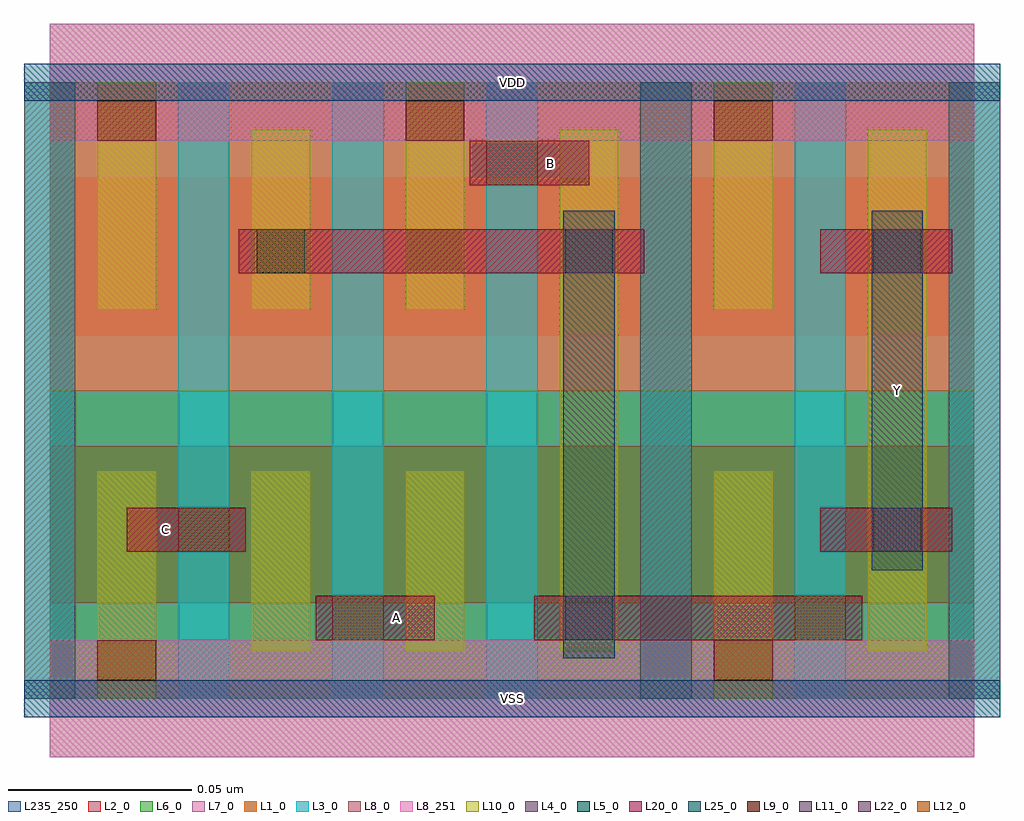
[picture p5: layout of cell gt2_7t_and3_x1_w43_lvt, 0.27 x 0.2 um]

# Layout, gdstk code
import gdstk
lib = gdstk.Library(unit=1e-6, precision=5e-10)
def R(c, l, rs):  # rectangles x0, y0, x1, y1
    for r in rs: c.add(gdstk.rectangle(r[:2], r[2:], *l))
def A(c, l, x, y, w, h, nx, ny, dx, dy):  # array of equal rectangles
    R(c, l, [(x+i*dx, y+j*dy, x+i*dx+w, y+j*dy+h) for i in range(nx) for j in range(ny)])
L1_0 = (1, 0)
L2_0 = (2, 0)
L3_0 = (3, 0)
L4_0 = (4, 0)
L5_0 = (5, 0)
L6_0 = (6, 0)
L7_0 = (7, 0)
L8_0 = (8, 0)
L8_251 = (8, 251)
L9_0 = (9, 0)
L10_0 = (10, 0)
L11_0 = (11, 0)
L12_0 = (12, 0)
L20_0 = (20, 0)
L22_0 = (22, 0)
L25_0 = (25, 0)
L235_250 = (235, 250)

gt2_7t_and3_x1_w43_lvt = lib.new_cell('gt2_7t_and3_x1_w43_lvt')
R(gt2_7t_and3_x1_w43_lvt, L1_0, [(0,0.084,0.252,0.168)])
R(gt2_7t_and3_x1_w43_lvt, L2_0, [(0,0.026,0.252,0.069), (0,0.099,0.252,0.142)])
A(gt2_7t_and3_x1_w43_lvt, L3_0, -0.007, 0, 0.014, 0.168, 7, 1, 0.042, 0)
R(gt2_7t_and3_x1_w43_lvt, L4_0, [(-0.007,0,0.007,0.168), (0.161,0,0.175,0.168), (0.245,0,0.259,0.168)])
R(gt2_7t_and3_x1_w43_lvt, L5_0, [(-0.007,-0.005,0.259,0.005), (-0.007,0.163,0.259,0.173)])
R(gt2_7t_and3_x1_w43_lvt, L6_0, [(0,0,0.252,0.084)])
R(gt2_7t_and3_x1_w43_lvt, L7_0, [(0,0.084,0.252,0.168)])
R(gt2_7t_and3_x1_w43_lvt, L8_0, [(0,-0.016,0.252,0.016), (0,0.152,0.252,0.184)])
R(gt2_7t_and3_x1_w43_lvt, L8_251, [(0,-0.016,0.252,0.016), (0,0.152,0.252,0.184)])
A(gt2_7t_and3_x1_w43_lvt, L9_0, 0.013, 0.152, 0.016, 0.011, 3, 1, 0.084, 0)
R(gt2_7t_and3_x1_w43_lvt, L9_0, [(0.013,0.005,0.029,0.016), (0.181,0.005,0.197,0.016)])
A(gt2_7t_and3_x1_w43_lvt, L10_0, 0.013, 0.106, 0.016, 0.062, 3, 1, 0.084, 0)
R(gt2_7t_and3_x1_w43_lvt, L10_0, [(0.013,0,0.029,0.062), (0.181,0,0.197,0.062), (0.055,0.013,0.071,0.062), (0.097,0.013,0.113,0.062), (0.139,0.013,0.155,0.155), (0.223,0.013,0.239,0.155), (0.055,0.106,0.071,0.155)])
A(gt2_7t_and3_x1_w43_lvt, L11_0, 0.0565, 0.116, 0.013, 0.012, 3, 1, 0.084, 0)
R(gt2_7t_and3_x1_w43_lvt, L11_0, [(0.1405,0.016,0.1535,0.028), (0.2245,0.04,0.2375,0.052)])
R(gt2_7t_and3_x1_w43_lvt, L12_0, [(0.077,0.016,0.091,0.028), (0.203,0.016,0.217,0.028), (0.035,0.04,0.049,0.052), (0.119,0.14,0.133,0.152)])
R(gt2_7t_and3_x1_w43_lvt, L20_0, [(0.0725,0.016,0.105,0.028), (0.132,0.016,0.2215,0.028), (0.021,0.04,0.0535,0.052), (0.21,0.04,0.246,0.052), (0.0515,0.116,0.162,0.128), (0.21,0.116,0.246,0.128), (0.1145,0.14,0.147,0.152)])
R(gt2_7t_and3_x1_w43_lvt, L22_0, [(0.14,0.016,0.154,0.028), (0.224,0.04,0.238,0.052), (0.14,0.116,0.154,0.128), (0.224,0.116,0.238,0.128)])
R(gt2_7t_and3_x1_w43_lvt, L25_0, [(0.14,0.011,0.154,0.133), (0.224,0.035,0.238,0.133)])
R(gt2_7t_and3_x1_w43_lvt, L235_250, [(0,0,0.252,0.168)])
gt2_7t_and3_x1_w43_lvt.add(gdstk.Label('VSS', (0.126,0), layer=8, texttype=251))
gt2_7t_and3_x1_w43_lvt.add(gdstk.Label('VDD', (0.126,0.168), layer=8, texttype=251))
gt2_7t_and3_x1_w43_lvt.add(gdstk.Label('C', (0.0315,0.046), layer=20, texttype=251))
gt2_7t_and3_x1_w43_lvt.add(gdstk.Label('B', (0.1365,0.146), layer=20, texttype=251))
gt2_7t_and3_x1_w43_lvt.add(gdstk.Label('A', (0.0945,0.022), layer=20, texttype=251))
gt2_7t_and3_x1_w43_lvt.add(gdstk.Label('Y', (0.231,0.084), layer=25, texttype=251))

lib.write_gds('gt2_7t_and3_x1_w43_lvt.gds')
